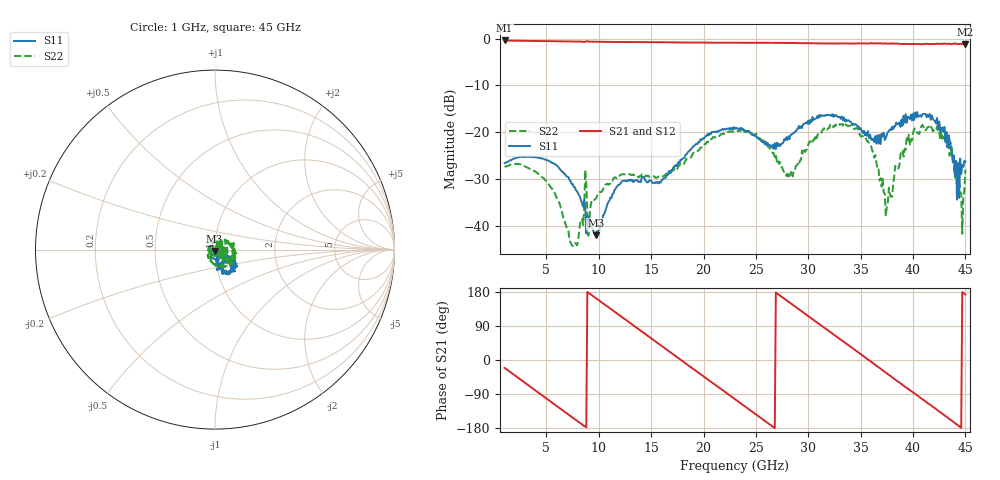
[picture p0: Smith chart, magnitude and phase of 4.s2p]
!Keysight Technologies,N5247B,MY61255062,A.19.80.06
!Date: Monday, May 18, 2026 12:01:53
!Correction: S11(Cdelta 2-Port  )
!S21(Cdelta 2-Port  )
!S12(Cdelta 2-Port  )
!S22(Cdelta 2-Port  )
!S2P File: Measurements: S11, S21, S12, S22:
# Hz S  dB  R 50
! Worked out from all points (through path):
!   441 points, 1 GHz to 45 GHz, reference 50 ohm
!   highest |S21| = -0.41 dB at 1 GHz (marker M1); lowest = -1.2 dB at 45 GHz (marker M2)
!   group delay of S21, straight-line fit = 55.9 ps
!   lowest |S11| = -42.0 dB at 9.7 GHz (marker M3), VSWR 1.02, Z = 49.7 - j0.742 ohm
!   |S11| at or under -10 dB: start of sweep to end of sweep
!   |S22| runs from -44.4 to -18.0 dB; largest |S21 - S12| = 0.015
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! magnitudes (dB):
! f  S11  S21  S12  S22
! 1 GHz  -26.6  -0.4  -0.4  -27.2
! 4.9 GHz  -25.9  -0.6  -0.6  -30.2
! 7.4 GHz  -31.1  -0.6  -0.6  -44.1
! 8.4 GHz  -35.2  -0.7  -0.7  -38.5
! 8.6 GHz  -34.4  -0.7  -0.7  -36.3
! 9.1 GHz  -39.5  -0.7  -0.7  -38.7
! 9.7 GHz  -42.0  -0.7  -0.7  -34.2
! 12.1 GHz  -30.8  -0.7  -0.8  -29.1
! 15.7 GHz  -31.0  -0.8  -0.8  -29.5
! 20.4 GHz  -20.4  -0.9  -0.9  -22.2
! 23 GHz  -19.3  -0.9  -0.9  -19.6
! 25.2 GHz  -21.1  -0.9  -0.9  -20.9
! 28.1 GHz  -20.9  -1.0  -1.0  -29.9
! 30.4 GHz  -16.8  -1.0  -1.0  -22.3
! 34.6 GHz  -18.4  -1.1  -1.1  -19.2
! 37.7 GHz  -19.7  -1.1  -1.1  -31.9
! 39.4 GHz  -18.0  -1.1  -1.2  -21.0
! 40.9 GHz  -16.2  -1.1  -1.2  -18.4
! 43.5 GHz  -21.8  -1.2  -1.1  -25.1
! 44.2 GHz  -34.4  -1.2  -1.2  -30.1
! 44.7 GHz  -27.0  -1.2  -1.1  -41.7
! 45 GHz  -26.4  -1.2  -1.1  -28.0
